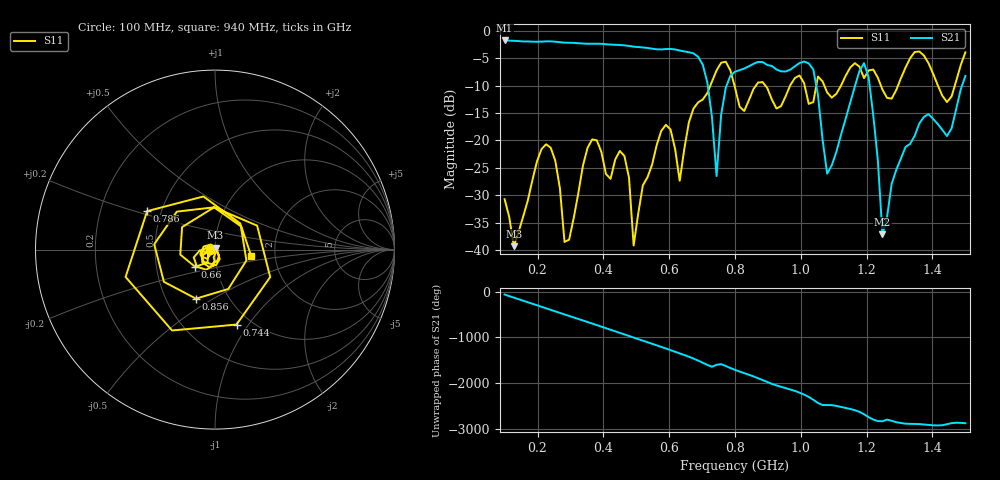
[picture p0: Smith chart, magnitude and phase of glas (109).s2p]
! NanoVNA-App
! Date: 2025-09-26 09:38:56
! Start: 100MHz Stop: 1,5GHz Points: 101
! S-Parameter data: F S11 S21 S12 S22
# Hz S RI R 50
!  Frequency  S11_Real  S11_Imag  S21_Real  S21_Imag  S12_Real  S12_Imag  S22_Real  S22_Imag
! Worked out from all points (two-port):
!   101 points, 100 MHz to 1.5 GHz, reference 50 ohm
!   highest |S21| = -1.79 dB at 100 MHz (marker M1); lowest = -37.1 dB at 1.248 GHz (marker M2)
!   |S21| within 3 dB of the highest: start of sweep to 688.3 MHz
!   lowest |S11| = -39.3 dB at 128 MHz (marker M3), VSWR 1.02, Z = 50.3 + j1.05 ohm
!   |S11| at or under -10 dB: start of sweep to 725.2 MHz; 798.3 MHz to 863.7 MHz (65.35 MHz wide, 7.86 % of centre); 892.1 MHz to 967.5 MHz (75.41 MHz wide, 8.11 % of centre) (the widest 3 of 7)
!   S12 and S22 are empty: the file has one direction only
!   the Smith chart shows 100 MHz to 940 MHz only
!   S11 on the Smith chart (normalised r, x): 100 MHz: 0.94, -0.01; 660 MHz: 0.79, -0.15; 744 MHz: 0.85, -0.88; 786 MHz: 0.42, +0.22; 856 MHz: 0.70, -0.42; 940 MHz: 1.50, -0.12
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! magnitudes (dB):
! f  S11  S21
! 100 MHz  -30.7  -1.8
! 128 MHz  -39.3  -1.9
! 212 MHz  -21.6  -2.0
! 282 MHz  -38.5  -2.2
! 338 MHz  -24.6  -2.3
! 464 MHz  -22.8  -2.7
! 492 MHz  -39.2  -2.9
! 576 MHz  -18.3  -3.4
! 632 MHz  -27.4  -3.6
! 660 MHz  -16.7  -3.9
! 716 MHz  -11.4  -9.4
! 744 MHz  -7.2  -26.5
! 786 MHz  -7.2  -8.2
! 800 MHz  -10.4  -7.5
! 856 MHz  -10.7  -6.1
! 940 MHz  -13.7  -7.4
! 1.038 GHz  -13.0  -7.1
! 1.08 GHz  -11.3  -26.1
! 1.192 GHz  -8.7  -5.9
! 1.248 GHz  -10.7  -37.1
! 1.276 GHz  -12.4  -27.9
! 1.5 GHz  -3.9  -8.3
